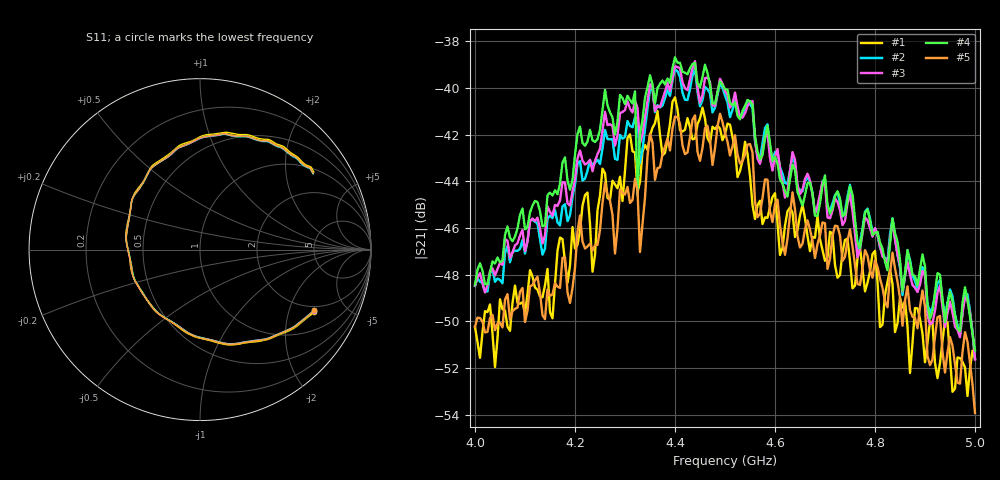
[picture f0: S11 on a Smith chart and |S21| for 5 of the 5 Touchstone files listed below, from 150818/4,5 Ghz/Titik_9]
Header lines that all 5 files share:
# Hz S RI R 50
! CMT, C1220, 16058040, 17.2.0/1
! Data: Format (Calibration Info)
! Freq  S11: Re/Im (F2)  S21: Re/Im (F2)  S12: Re/Im (F2)  S22: Re/Im (F2)
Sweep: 4 GHz to 5 GHz
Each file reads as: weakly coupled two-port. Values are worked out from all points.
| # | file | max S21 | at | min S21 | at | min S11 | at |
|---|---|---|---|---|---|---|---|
| 1 | Sudut_0_Titik_9.s2p | -40.40 dB | 4.4 GHz | -53.2 dB | 4.985 GHz | -7.7 dB | 4.365 GHz |
| 2 | Sudut_50_Titik_9.s2p | -39.17 dB | 4.44 GHz | -51.6 dB | 5 GHz | -7.7 dB | 4.36 GHz |
| 3 | Sudut_130_Titik_9.s2p | -38.85 dB | 4.44 GHz | -51.6 dB | 5 GHz | -7.7 dB | 4.36 GHz |
| 4 | Sudut_280_Titik_9.s2p | -38.68 dB | 4.4 GHz | -51.2 dB | 5 GHz | -7.7 dB | 4.36 GHz |
| 5 | Sudut_340_Titik_9.s2p | -41.10 dB | 4.49 GHz | -53.9 dB | 5 GHz | -7.7 dB | 4.36 GHz |
